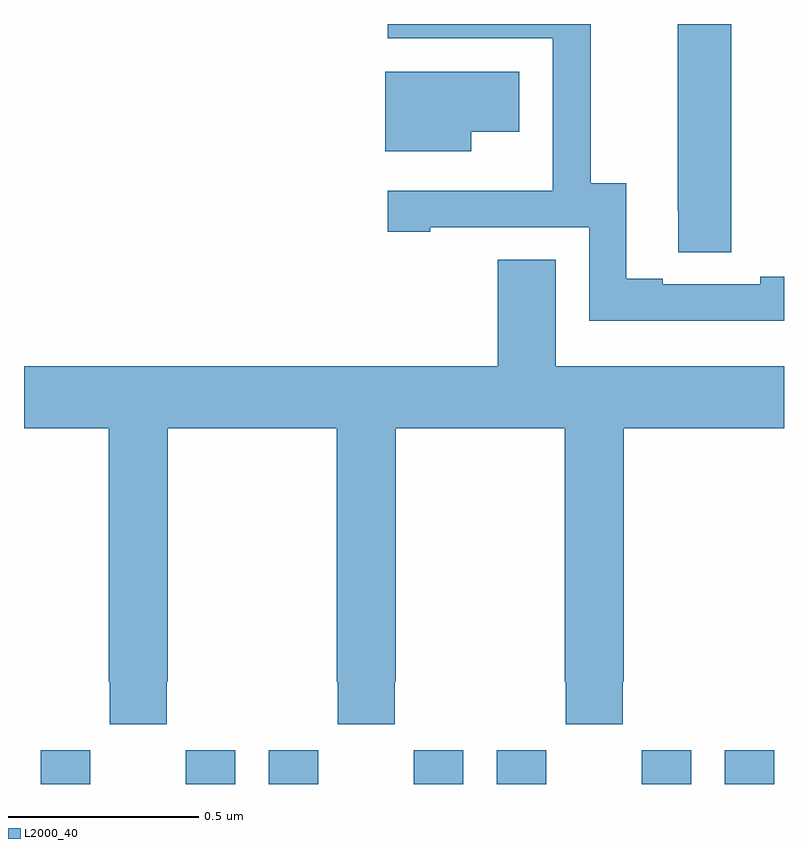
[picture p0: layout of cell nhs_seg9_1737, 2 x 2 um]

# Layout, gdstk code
import gdstk
lib = gdstk.Library(unit=1e-6, precision=1e-09)
def R(c, l, rs):  # rectangles x0, y0, x1, y1
    for r in rs: c.add(gdstk.rectangle(r[:2], r[2:], *l))
def P(c, l, *ps):  # polygons
    for p in ps: c.add(gdstk.Polygon(p, *l))
L2000_40 = (2000, 40)

nhs_seg9_1737 = lib.new_cell('nhs_seg9_1737')
R(nhs_seg9_1737, L2000_40, [(132.044,1179.5,132.174,1179.589), (132.426,1179.5,132.556,1179.589), (132.644,1179.5,132.774,1179.589), (133.026,1179.5,133.156,1179.589), (133.244,1179.5,133.374,1179.589), (133.626,1179.5,133.756,1179.589), (133.844,1179.5,133.974,1179.589)])
P(nhs_seg9_1737, L2000_40, [(134,1180.835),(133.937,1180.835),(133.937,1180.815),(133.681,1180.815),(133.681,1180.83),(133.585,1180.83),(133.585,1181.081),(133.491,1181.081),(133.491,1181.5),(132.957,1181.5),(132.957,1181.463),(133.392,1181.463),(133.392,1181.062),(133.391,1181.062),(133.391,1181.061),(132.957,1181.061),(132.957,1180.953),(133.069,1180.953),(133.069,1180.965),(133.488,1180.965),(133.488,1180.719),(134,1180.719)],
  [(133.861,1181.5),(133.721,1181.5),(133.721,1181.008),(133.722,1181.008),(133.722,1180.9),(133.861,1180.9)],
  [(133.177,1181.216),(133.303,1181.216),(133.303,1181.374),(132.95,1181.374),(132.95,1181.165),(133.177,1181.165)],
  [(132.375,1179.769),(132.378,1179.769),(132.378,1180.436),(132.823,1180.436),(132.823,1179.769),(132.825,1179.769),(132.825,1179.657),(132.975,1179.657),(132.975,1179.769),(132.978,1179.769),(132.978,1180.436),(133.423,1180.436),(133.423,1179.769),(133.425,1179.769),(133.425,1179.657),(133.575,1179.657),(133.575,1179.769),(133.578,1179.769),(133.578,1180.436),(134,1180.436),(134,1180.6),(133.399,1180.6),(133.399,1180.88),(133.247,1180.88),(133.247,1180.6),(132,1180.6),(132,1180.436),(132.223,1180.436),(132.223,1179.769),(132.225,1179.769),(132.225,1179.657),(132.375,1179.657)])

lib.write_gds('nhs_seg9_1737.gds')
